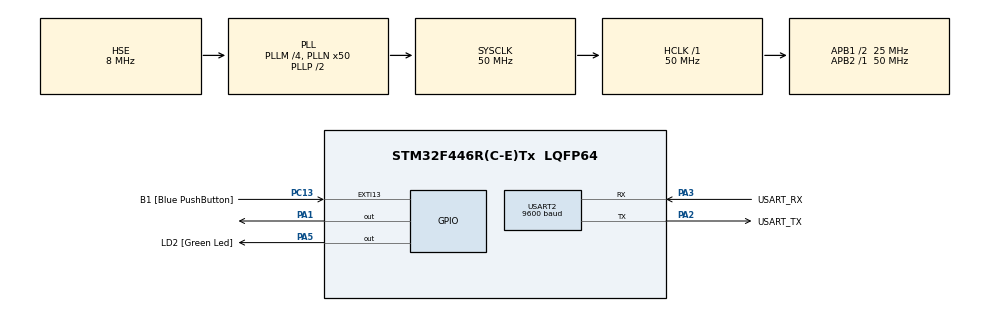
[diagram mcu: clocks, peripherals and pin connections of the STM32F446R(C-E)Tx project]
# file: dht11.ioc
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Mcu.Family=STM32F4
Mcu.Name=STM32F446R(C-E)Tx
Mcu.Package=LQFP64
NVIC.PriorityGroup=NVIC_PRIORITYGROUP_0
NVIC.USART2_IRQn=true\:0\:0\:false\:false\:true\:true\:true\:true
PA1.Signal=GPIO_Output
PA13.GPIO_Label=TMS
PA13.Mode=Serial_Wire
PA13.Signal=SYS_JTMS-SWDIO
PA14.GPIO_Label=TCK
PA14.Mode=Serial_Wire
PA14.Signal=SYS_JTCK-SWCLK
PA2.GPIO_Label=USART_TX
PA2.Mode=Asynchronous
PA2.Signal=USART2_TX
PA3.GPIO_Label=USART_RX
PA3.Mode=Asynchronous
PA3.Signal=USART2_RX
PA5.GPIO_Label=LD2 [Green Led]
PA5.Signal=GPIO_Output
PB3.GPIO_Label=SWO
PB3.Signal=SYS_JTDO-SWO
PC13.GPIO_Label=B1 [Blue PushButton]
PC13.GPIO_ModeDefaultEXTI=GPIO_MODE_IT_FALLING
PC13.Signal=GPXTI13
PC14-OSC32_IN.Mode=LSE-External-Oscillator
PC14-OSC32_IN.Signal=RCC_OSC32_IN
PC15-OSC32_OUT.Mode=LSE-External-Oscillator
PC15-OSC32_OUT.Signal=RCC_OSC32_OUT
PH0-OSC_IN.Mode=HSE-External-Oscillator
PH0-OSC_IN.Signal=RCC_OSC_IN
PH1-OSC_OUT.Mode=HSE-External-Oscillator
PH1-OSC_OUT.Signal=RCC_OSC_OUT
ProjectManager.HeapSize=0x200
ProjectManager.StackSize=0x400
ProjectManager.TargetToolchain=STM32CubeIDE
RCC.48MHZClocksFreq_Value=84000000
RCC.AHBFreq_Value=50000000
RCC.APB1CLKDivider=RCC_HCLK_DIV2
RCC.APB1Freq_Value=25000000
RCC.APB1TimFreq_Value=50000000
RCC.APB2Freq_Value=50000000
RCC.APB2TimFreq_Value=50000000
RCC.CortexFreq_Value=50000000
RCC.FLatency-AdvancedSettings=FLASH_LATENCY_1
RCC.HCLKFreq_Value=50000000
RCC.HSE_VALUE=8000000
RCC.HSI_VALUE=16000000
RCC.PLLM=4
RCC.PLLN=50
RCC.PLLQ=3
RCC.PLLSourceVirtual=RCC_PLLSOURCE_HSE
RCC.SYSCLKFreq_VALUE=50000000
RCC.SYSCLKSource=RCC_SYSCLKSOURCE_PLLCLK
RCC.USBFreq_Value=33333333.333333332
RCC.VCOOutputFreq_Value=100000000
TIM6.Period=0xffff-1
TIM6.Prescaler=50-1
USART2.BaudRate=9600
USART2.VirtualMode=VM_ASYNC
VP_TIM6_VS_ClockSourceINT.Mode=Enable_Timer
board=NUCLEO-F446RE

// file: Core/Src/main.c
/* USER CODE BEGIN Header */
/**
  ******************************************************************************
  * @file           : main.c
  * @brief          : Main program body
  ******************************************************************************
  * @attention
  *
  * Copyright (c) 2025 STMicroelectronics.
  * All rights reserved.
  *
  * This software is licensed under terms that can be found in the LICENSE file
  * in the root directory of this software component.
  * If no LICENSE file comes with this software, it is provided AS-IS.
  *
  ******************************************************************************
  */
/* USER CODE END Header */
#include "main.h"

/* USER CODE BEGIN Includes */
#include "dht11.h"
/* USER CODE END Includes */

TIM_HandleTypeDef htim6;

UART_HandleTypeDef huart2;

void SystemClock_Config(void);
static void MX_GPIO_Init(void);
static void MX_USART2_UART_Init(void);
static void MX_TIM6_Init(void);

/* USER CODE BEGIN 0 */

// Data received from the UART
uint8_t rxBuffer = 0;

void HAL_UART_RxCpltCallback(UART_HandleTypeDef *huart)
{
	if (huart->Instance == USART2 && rxBuffer == 0xAA)
	{
		// Init the Dht11 config
		Dht11Cfg cfg;
		cfg.port = GPIOA;
		cfg.pin = GPIO_PIN_1;
		cfg.htim = &htim6;
		Dht11Data data;

		ReadDht11(&cfg, &data);

		uint8_t buffer[DHT11_DATA_SIZE];
		for (int i = 0; i < DHT11_DATA_SIZE; i++)
			buffer[i] = 0;

		buffer[0] = data.rh_int;
		buffer[1] = data.rh_frac;
		buffer[2] = data.temp_int;
		buffer[3] = data.temp_frac;
		buffer[4] = data.checksum;

		// Send the data to the PC
		HAL_UART_Transmit(&huart2, buffer, DHT11_DATA_SIZE, HAL_MAX_DELAY);
	}
	// Set up UART receive operation for the next incoming data
	HAL_UART_Receive_IT(&huart2, &rxBuffer, sizeof(rxBuffer));
}

/* USER CODE END 0 */

int main(void)
{

  /* MCU Configuration--------------------------------------------------------*/

  /* Reset of all peripherals, Initializes the Flash interface and the Systick. */
  HAL_Init();

  /* Configure the system clock */
  SystemClock_Config();

  /* Initialize all configured peripherals */
  MX_GPIO_Init();
  MX_USART2_UART_Init();
  MX_TIM6_Init();
  /* USER CODE BEGIN 2 */
  HAL_TIM_Base_Start(&htim6);

  HAL_UART_Receive_IT(&huart2, &rxBuffer, sizeof(rxBuffer)); // Start reception once

  /* USER CODE END 2 */

  /* Infinite loop */
  while (1)
  {

    /* USER CODE BEGIN 3 */

	// Stay in low power mode, waiting for the signal from the UART end
	__WFI();
  }
  /* USER CODE END 3 */
}

void SystemClock_Config(void)
{
  RCC_OscInitTypeDef RCC_OscInitStruct = {0};
  RCC_ClkInitTypeDef RCC_ClkInitStruct = {0};

  /** Configure the main internal regulator output voltage
  */
  __HAL_RCC_PWR_CLK_ENABLE();
  __HAL_PWR_VOLTAGESCALING_CONFIG(PWR_REGULATOR_VOLTAGE_SCALE3);

  /** Initializes the RCC Oscillators according to the specified parameters
  * in the RCC_OscInitTypeDef structure.
  */
  RCC_OscInitStruct.OscillatorType = RCC_OSCILLATORTYPE_HSE;
  RCC_OscInitStruct.HSEState = RCC_HSE_ON;
  RCC_OscInitStruct.PLL.PLLState = RCC_PLL_ON;
  RCC_OscInitStruct.PLL.PLLSource = RCC_PLLSOURCE_HSE;
  RCC_OscInitStruct.PLL.PLLM = 4;
  RCC_OscInitStruct.PLL.PLLN = 50;
  RCC_OscInitStruct.PLL.PLLP = RCC_PLLP_DIV2;
  RCC_OscInitStruct.PLL.PLLQ = 3;
  RCC_OscInitStruct.PLL.PLLR = 2;
  if (HAL_RCC_OscConfig(&RCC_OscInitStruct) != HAL_OK)
  {
    Error_Handler();
  }

  /** Initializes the CPU, AHB and APB buses clocks
  */
  RCC_ClkInitStruct.ClockType = RCC_CLOCKTYPE_HCLK|RCC_CLOCKTYPE_SYSCLK
                              |RCC_CLOCKTYPE_PCLK1|RCC_CLOCKTYPE_PCLK2;
  RCC_ClkInitStruct.SYSCLKSource = RCC_SYSCLKSOURCE_PLLCLK;
  RCC_ClkInitStruct.AHBCLKDivider = RCC_SYSCLK_DIV1;
  RCC_ClkInitStruct.APB1CLKDivider = RCC_HCLK_DIV2;
  RCC_ClkInitStruct.APB2CLKDivider = RCC_HCLK_DIV1;

  if (HAL_RCC_ClockConfig(&RCC_ClkInitStruct, FLASH_LATENCY_1) != HAL_OK)
  {
    Error_Handler();
  }
}

static void MX_TIM6_Init(void)
{

  TIM_MasterConfigTypeDef sMasterConfig = {0};

  htim6.Instance = TIM6;
  htim6.Init.Prescaler = 50-1;
  htim6.Init.CounterMode = TIM_COUNTERMODE_UP;
  htim6.Init.Period = 0xffff-1;
  htim6.Init.AutoReloadPreload = TIM_AUTORELOAD_PRELOAD_DISABLE;
  if (HAL_TIM_Base_Init(&htim6) != HAL_OK)
  {
    Error_Handler();
  }
  sMasterConfig.MasterOutputTrigger = TIM_TRGO_RESET;
  sMasterConfig.MasterSlaveMode = TIM_MASTERSLAVEMODE_DISABLE;
  if (HAL_TIMEx_MasterConfigSynchronization(&htim6, &sMasterConfig) != HAL_OK)
  {
    Error_Handler();
  }

}

static void MX_USART2_UART_Init(void)
{

  huart2.Instance = USART2;
  huart2.Init.BaudRate = 9600;
  huart2.Init.WordLength = UART_WORDLENGTH_8B;
  huart2.Init.StopBits = UART_STOPBITS_1;
  huart2.Init.Parity = UART_PARITY_NONE;
  huart2.Init.Mode = UART_MODE_TX_RX;
  huart2.Init.HwFlowCtl = UART_HWCONTROL_NONE;
  huart2.Init.OverSampling = UART_OVERSAMPLING_16;
  if (HAL_UART_Init(&huart2) != HAL_OK)
  {
    Error_Handler();
  }

}

static void MX_GPIO_Init(void)
{
  GPIO_InitTypeDef GPIO_InitStruct = {0};

  /* GPIO Ports Clock Enable */
  __HAL_RCC_GPIOC_CLK_ENABLE();
  __HAL_RCC_GPIOH_CLK_ENABLE();
  __HAL_RCC_GPIOA_CLK_ENABLE();
  __HAL_RCC_GPIOB_CLK_ENABLE();

  /*Configure GPIO pin Output Level */
  HAL_GPIO_WritePin(GPIOA, GPIO_PIN_1|LD2_Pin, GPIO_PIN_RESET);

  /*Configure GPIO pin : B1_Pin */
  GPIO_InitStruct.Pin = B1_Pin;
  GPIO_InitStruct.Mode = GPIO_MODE_IT_FALLING;
  GPIO_InitStruct.Pull = GPIO_NOPULL;
  HAL_GPIO_Init(B1_GPIO_Port, &GPIO_InitStruct);

  /*Configure GPIO pins : PA1 LD2_Pin */
  GPIO_InitStruct.Pin = GPIO_PIN_1|LD2_Pin;
  GPIO_InitStruct.Mode = GPIO_MODE_OUTPUT_PP;
  GPIO_InitStruct.Pull = GPIO_NOPULL;
  GPIO_InitStruct.Speed = GPIO_SPEED_FREQ_LOW;
  HAL_GPIO_Init(GPIOA, &GPIO_InitStruct);

}

void Error_Handler(void)
{
  __disable_irq();
  while (1)
  {
  }
}
